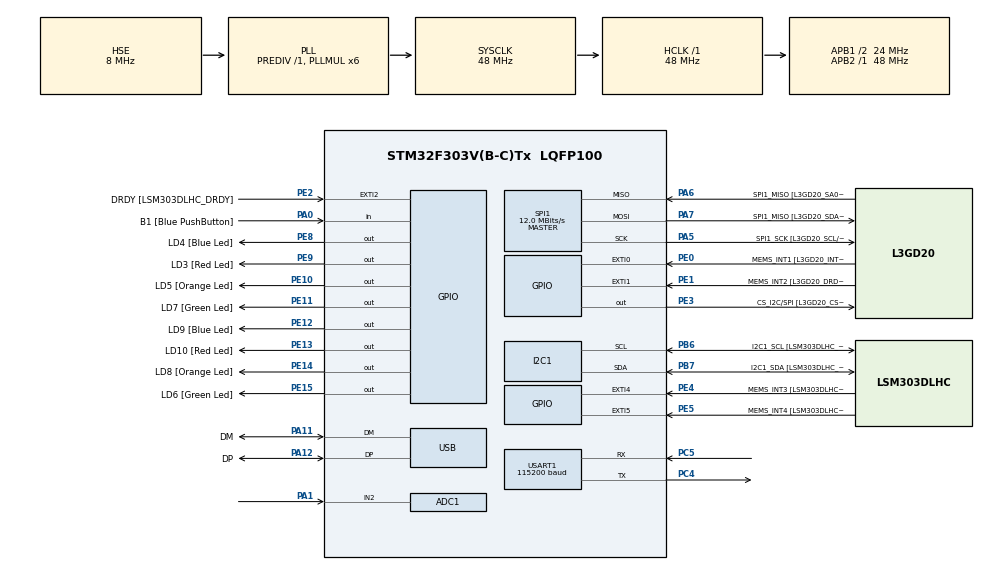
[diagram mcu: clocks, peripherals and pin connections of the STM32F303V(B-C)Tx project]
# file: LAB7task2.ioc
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ADC1.Channel-6\#ChannelRegularConversion=ADC_CHANNEL_2
ADC1.ContinuousConvMode=ENABLE
ADC1.NbrOfConversionFlag=1
ADC1.Offset-6\#ChannelRegularConversion=0
ADC1.OffsetNumber-6\#ChannelRegularConversion=ADC_OFFSET_NONE
ADC1.Rank-6\#ChannelRegularConversion=1
ADC1.SamplingTime-6\#ChannelRegularConversion=ADC_SAMPLETIME_19CYCLES_5
ADC1.SamplingTimeOPAMP-6\#ChannelRegularConversion=ADC_SAMPLETIME_19CYCLES_5
ADC1.master=1
I2C1.Timing=0x2000090E
I2C1.Timing-I2C=0x2000090E
Mcu.Family=STM32F3
Mcu.Name=STM32F303V(B-C)Tx
Mcu.Package=LQFP100
NVIC.ADC1_2_IRQn=true\:0\:0\:false\:false\:true\:true\:true\:true
NVIC.PriorityGroup=NVIC_PRIORITYGROUP_0
PA0.GPIO_Label=B1 [Blue PushButton]
PA0.Signal=GPIO_Input
PA1.Mode=IN2-Single-Ended
PA1.Signal=ADC1_IN2
PA11.GPIO_Label=DM
PA11.Mode=Device
PA11.Signal=USB_DM
PA12.GPIO_Label=DP
PA12.Mode=Device
PA12.Signal=USB_DP
PA13.GPIO_Label=SWDIO
PA13.Mode=Serial_Wire
PA13.Signal=SYS_JTMS-SWDIO
PA14.GPIO_Label=SWCLK
PA14.Mode=Serial_Wire
PA14.Signal=SYS_JTCK-SWCLK
PA5.GPIO_Label=SPI1_SCK [L3GD20_SCL/SPC]
PA5.Mode=Full_Duplex_Master
PA5.Signal=SPI1_SCK
PA6.GPIO_Label=SPI1_MISO [L3GD20_SA0/SDO]
PA6.Mode=Full_Duplex_Master
PA6.Signal=SPI1_MISO
PA7.GPIO_Label=SPI1_MISO [L3GD20_SDA/SDI/SDO]
PA7.Mode=Full_Duplex_Master
PA7.Signal=SPI1_MOSI
PB3.GPIO_Label=SWO
PB3.Signal=SYS_JTDO-TRACESWO
PB6.GPIO_Label=I2C1_SCL [LSM303DLHC_SCL]
PB6.GPIO_Pu=GPIO_PULLUP
PB6.Mode=I2C
PB6.Signal=I2C1_SCL
PB7.GPIO_Label=I2C1_SDA [LSM303DLHC_SDA]
PB7.GPIO_Pu=GPIO_PULLUP
PB7.Mode=I2C
PB7.Signal=I2C1_SDA
PC14-OSC32_IN.GPIO_Label=OSC32_IN
PC14-OSC32_IN.Signal=RCC_OSC32_IN
PC15-OSC32_OUT.GPIO_Label=OSC32_OUT
PC15-OSC32_OUT.Signal=RCC_OSC32_OUT
PC4.Mode=Asynchronous
PC4.Signal=USART1_TX
PC5.Mode=Asynchronous
PC5.Signal=USART1_RX
PE0.GPIO_Label=MEMS_INT1 [L3GD20_INT1]
PE0.GPIO_ModeDefaultEXTI=GPIO_MODE_EVT_RISING
PE0.Signal=GPXTI0
PE1.GPIO_Label=MEMS_INT2 [L3GD20_DRDY/INT2]
PE1.GPIO_ModeDefaultEXTI=GPIO_MODE_EVT_RISING
PE1.Signal=GPXTI1
PE10.GPIO_Label=LD5 [Orange Led]
PE10.Signal=GPIO_Output
PE11.GPIO_Label=LD7 [Green Led]
PE11.Signal=GPIO_Output
PE12.GPIO_Label=LD9 [Blue Led]
PE12.Signal=GPIO_Output
PE13.GPIO_Label=LD10 [Red Led]
PE13.Signal=GPIO_Output
PE14.GPIO_Label=LD8 [Orange Led]
PE14.Signal=GPIO_Output
PE15.GPIO_Label=LD6 [Green Led]
PE15.Signal=GPIO_Output
PE2.GPIO_Label=DRDY [LSM303DLHC_DRDY]
PE2.GPIO_ModeDefaultEXTI=GPIO_MODE_EVT_RISING
PE2.Signal=GPXTI2
PE3.GPIO_Label=CS_I2C/SPI [L3GD20_CS_I2C/SPI]
PE3.Signal=GPIO_Output
PE4.GPIO_Label=MEMS_INT3 [LSM303DLHC_INT1]
PE4.GPIO_ModeDefaultEXTI=GPIO_MODE_EVT_RISING
PE4.Signal=GPXTI4
PE5.GPIO_Label=MEMS_INT4 [LSM303DLHC_INT2]
PE5.GPIO_ModeDefaultEXTI=GPIO_MODE_EVT_RISING
PE5.Signal=GPXTI5
PE8.GPIO_Label=LD4 [Blue Led]
PE8.Signal=GPIO_Output
PE9.GPIO_Label=LD3 [Red Led]
PE9.Signal=GPIO_Output
PF0-OSC_IN.GPIO_Label=OSC_IN
PF0-OSC_IN.Mode=HSE-External-Clock-Source
PF0-OSC_IN.Signal=RCC_OSC_IN
PF1-OSC_OUT.GPIO_Label=OSC_OUT
PF1-OSC_OUT.Signal=RCC_OSC_OUT
ProjectManager.HeapSize=0x200
ProjectManager.StackSize=0x400
ProjectManager.TargetToolchain=CMake
RCC.AHBFreq_Value=48000000
RCC.APB1CLKDivider=RCC_HCLK_DIV2
RCC.APB1Freq_Value=24000000
RCC.APB1TimFreq_Value=48000000
RCC.APB2Freq_Value=48000000
RCC.APB2TimFreq_Value=48000000
RCC.CortexFreq_Value=48000000
RCC.HCLKFreq_Value=48000000
RCC.HSE_VALUE=8000000
RCC.HSI_VALUE=8000000
RCC.LSE_VALUE=32768
RCC.PLLMUL=RCC_PLL_MUL6
RCC.SYSCLKFreq_VALUE=48000000
RCC.SYSCLKSourceVirtual=RCC_SYSCLKSOURCE_PLLCLK
RCC.USBFreq_Value=48000000
SPI1.BaudRatePrescaler=SPI_BAUDRATEPRESCALER_4
SPI1.BaudRatePrescaler-Full_Duplex_Master=SPI_BAUDRATEPRESCALER_2
SPI1.CalculateBaudRate=12.0 MBits/s
SPI1.CalculateBaudRate-Full_Duplex_Master=24.0 MBits/s
SPI1.Direction=SPI_DIRECTION_2LINES
SPI1.Mode=SPI_MODE_MASTER
SPI1.Mode-Full_Duplex_Master=SPI_MODE_MASTER
SPI1.VirtualType=VM_MASTER
STMicroelectronics.X-CUBE-ALGOBUILD.1.4.0.LibraryCcDSPOoLibraryJjDSPOoLibrary=true
USART1.BaudRate=115200
USART1.VirtualMode-Asynchronous=VM_ASYNC
VP_STMicroelectronics.X-CUBE-ALGOBUILD_VS_DSPOoLibraryJjLibrary_1.4.0_1.4.0.Mode=DSPOoLibraryJjLibrary
board=STM32F3DISCOVERY

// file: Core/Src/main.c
/* USER CODE BEGIN Header */
/**
  ******************************************************************************
  * @file           : main.c
  * @brief          : Main program body
  ******************************************************************************
  * @attention
  *
  * Copyright (c) 2025 STMicroelectronics.
  * All rights reserved.
  *
  * This software is licensed under terms that can be found in the LICENSE file
  * in the root directory of this software component.
  * If no LICENSE file comes with this software, it is provided AS-IS.
  *
  ******************************************************************************
  */
/* USER CODE END Header */
#include "main.h"
// #include "usb_device.h"

/* USER CODE BEGIN Includes */
#include <stdio.h>
#include <string.h>
/* USER CODE END Includes */

/* USER CODE BEGIN PV */
volatile uint32_t adc_value = 0;
volatile uint32_t filtered_value = 0;

static uint32_t filter_buffer[10] = {0};  // 10-point moving avg buffer
static uint8_t  filter_index = 0;
/* USER CODE END PV */

ADC_HandleTypeDef hadc1;

I2C_HandleTypeDef hi2c1;

SPI_HandleTypeDef hspi1;

UART_HandleTypeDef huart1;

void SystemClock_Config(void);
static void MX_GPIO_Init(void);
static void MX_ADC1_Init(void);
static void MX_I2C1_Init(void);
static void MX_SPI1_Init(void);
static void MX_USART1_UART_Init(void);

int main(void)
{

  /* MCU Configuration--------------------------------------------------------*/

  /* Reset of all peripherals, Initializes the Flash interface and the Systick. */
  HAL_Init();

  /* Configure the system clock */
  SystemClock_Config();

  /* Initialize all configured peripherals */
  MX_GPIO_Init();
  MX_ADC1_Init();
  MX_I2C1_Init();
  MX_SPI1_Init();
  MX_USART1_UART_Init();
  // MX_USB_DEVICE_Init();
  /* USER CODE BEGIN 2 */
  HAL_ADC_Start_IT(&hadc1);//                       interrupt task
  /* USER CODE END 2 */

  /* Infinite loop */
  /* USER CODE BEGIN WHILE */
 while (1)                                            //polling task
{

}
  /* USER CODE END 3 */
}

void SystemClock_Config(void)
{
  RCC_OscInitTypeDef RCC_OscInitStruct = {0};
  RCC_ClkInitTypeDef RCC_ClkInitStruct = {0};
  RCC_PeriphCLKInitTypeDef PeriphClkInit = {0};

  /** Initializes the RCC Oscillators according to the specified parameters
  * in the RCC_OscInitTypeDef structure.
  */
  RCC_OscInitStruct.OscillatorType = RCC_OSCILLATORTYPE_HSI|RCC_OSCILLATORTYPE_HSE;
  RCC_OscInitStruct.HSEState = RCC_HSE_BYPASS;
  RCC_OscInitStruct.HSEPredivValue = RCC_HSE_PREDIV_DIV1;
  RCC_OscInitStruct.HSIState = RCC_HSI_ON;
  RCC_OscInitStruct.HSICalibrationValue = RCC_HSICALIBRATION_DEFAULT;
  RCC_OscInitStruct.PLL.PLLState = RCC_PLL_ON;
  RCC_OscInitStruct.PLL.PLLSource = RCC_PLLSOURCE_HSE;
  RCC_OscInitStruct.PLL.PLLMUL = RCC_PLL_MUL6;
  if (HAL_RCC_OscConfig(&RCC_OscInitStruct) != HAL_OK)
  {
    Error_Handler();
  }

  /** Initializes the CPU, AHB and APB buses clocks
  */
  RCC_ClkInitStruct.ClockType = RCC_CLOCKTYPE_HCLK|RCC_CLOCKTYPE_SYSCLK
                              |RCC_CLOCKTYPE_PCLK1|RCC_CLOCKTYPE_PCLK2;
  RCC_ClkInitStruct.SYSCLKSource = RCC_SYSCLKSOURCE_PLLCLK;
  RCC_ClkInitStruct.AHBCLKDivider = RCC_SYSCLK_DIV1;
  RCC_ClkInitStruct.APB1CLKDivider = RCC_HCLK_DIV2;
  RCC_ClkInitStruct.APB2CLKDivider = RCC_HCLK_DIV1;

  if (HAL_RCC_ClockConfig(&RCC_ClkInitStruct, FLASH_LATENCY_1) != HAL_OK)
  {
    Error_Handler();
  }
  PeriphClkInit.PeriphClockSelection = RCC_PERIPHCLK_USB|RCC_PERIPHCLK_USART1
                              |RCC_PERIPHCLK_I2C1|RCC_PERIPHCLK_ADC12;
  PeriphClkInit.Usart1ClockSelection = RCC_USART1CLKSOURCE_PCLK2;
  PeriphClkInit.Adc12ClockSelection = RCC_ADC12PLLCLK_DIV1;
  PeriphClkInit.I2c1ClockSelection = RCC_I2C1CLKSOURCE_HSI;
  PeriphClkInit.USBClockSelection = RCC_USBCLKSOURCE_PLL;
  if (HAL_RCCEx_PeriphCLKConfig(&PeriphClkInit) != HAL_OK)
  {
    Error_Handler();
  }
}

static void MX_ADC1_Init(void)
{

  ADC_MultiModeTypeDef multimode = {0};
  ADC_ChannelConfTypeDef sConfig = {0};

  /** Common config
  */
  hadc1.Instance = ADC1;
  hadc1.Init.ClockPrescaler = ADC_CLOCK_ASYNC_DIV1;
  hadc1.Init.Resolution = ADC_RESOLUTION_12B;
  hadc1.Init.ScanConvMode = ADC_SCAN_DISABLE;
  hadc1.Init.ContinuousConvMode = ENABLE;
  hadc1.Init.DiscontinuousConvMode = DISABLE;
  hadc1.Init.ExternalTrigConvEdge = ADC_EXTERNALTRIGCONVEDGE_NONE;
  hadc1.Init.ExternalTrigConv = ADC_SOFTWARE_START;
  hadc1.Init.DataAlign = ADC_DATAALIGN_RIGHT;
  hadc1.Init.NbrOfConversion = 1;
  hadc1.Init.DMAContinuousRequests = DISABLE;
  hadc1.Init.EOCSelection = ADC_EOC_SINGLE_CONV;
  hadc1.Init.LowPowerAutoWait = DISABLE;
  hadc1.Init.Overrun = ADC_OVR_DATA_OVERWRITTEN;
  if (HAL_ADC_Init(&hadc1) != HAL_OK)
  {
    Error_Handler();
  }

  /** Configure the ADC multi-mode
  */
  multimode.Mode = ADC_MODE_INDEPENDENT;
  if (HAL_ADCEx_MultiModeConfigChannel(&hadc1, &multimode) != HAL_OK)
  {
    Error_Handler();
  }

  /** Configure Regular Channel
  */
  sConfig.Channel = ADC_CHANNEL_1;
  sConfig.Rank = ADC_REGULAR_RANK_1;
  sConfig.SingleDiff = ADC_SINGLE_ENDED;
  sConfig.SamplingTime = ADC_SAMPLETIME_1CYCLE_5;
  sConfig.OffsetNumber = ADC_OFFSET_NONE;
  sConfig.Offset = 0;
  if (HAL_ADC_ConfigChannel(&hadc1, &sConfig) != HAL_OK)
  {
    Error_Handler();
  }

}

static void MX_I2C1_Init(void)
{

  hi2c1.Instance = I2C1;
  hi2c1.Init.Timing = 0x00201D2B;
  hi2c1.Init.OwnAddress1 = 0;
  hi2c1.Init.AddressingMode = I2C_ADDRESSINGMODE_7BIT;
  hi2c1.Init.DualAddressMode = I2C_DUALADDRESS_DISABLE;
  hi2c1.Init.OwnAddress2 = 0;
  hi2c1.Init.OwnAddress2Masks = I2C_OA2_NOMASK;
  hi2c1.Init.GeneralCallMode = I2C_GENERALCALL_DISABLE;
  hi2c1.Init.NoStretchMode = I2C_NOSTRETCH_DISABLE;
  if (HAL_I2C_Init(&hi2c1) != HAL_OK)
  {
    Error_Handler();
  }

  /** Configure Analogue filter
  */
  if (HAL_I2CEx_ConfigAnalogFilter(&hi2c1, I2C_ANALOGFILTER_ENABLE) != HAL_OK)
  {
    Error_Handler();
  }

  /** Configure Digital filter
  */
  if (HAL_I2CEx_ConfigDigitalFilter(&hi2c1, 0) != HAL_OK)
  {
    Error_Handler();
  }

}

static void MX_SPI1_Init(void)
{

  /* SPI1 parameter configuration*/
  hspi1.Instance = SPI1;
  hspi1.Init.Mode = SPI_MODE_MASTER;
  hspi1.Init.Direction = SPI_DIRECTION_2LINES;
  hspi1.Init.DataSize = SPI_DATASIZE_4BIT;
  hspi1.Init.CLKPolarity = SPI_POLARITY_LOW;
  hspi1.Init.CLKPhase = SPI_PHASE_1EDGE;
  hspi1.Init.NSS = SPI_NSS_SOFT;
  hspi1.Init.BaudRatePrescaler = SPI_BAUDRATEPRESCALER_4;
  hspi1.Init.FirstBit = SPI_FIRSTBIT_MSB;
  hspi1.Init.TIMode = SPI_TIMODE_DISABLE;
  hspi1.Init.CRCCalculation = SPI_CRCCALCULATION_DISABLE;
  hspi1.Init.CRCPolynomial = 7;
  hspi1.Init.CRCLength = SPI_CRC_LENGTH_DATASIZE;
  hspi1.Init.NSSPMode = SPI_NSS_PULSE_ENABLE;
  if (HAL_SPI_Init(&hspi1) != HAL_OK)
  {
    Error_Handler();
  }

}

static void MX_USART1_UART_Init(void)
{

  huart1.Instance = USART1;
  huart1.Init.BaudRate = 115200;
  huart1.Init.WordLength = UART_WORDLENGTH_8B;
  huart1.Init.StopBits = UART_STOPBITS_1;
  huart1.Init.Parity = UART_PARITY_NONE;
  huart1.Init.Mode = UART_MODE_TX_RX;
  huart1.Init.HwFlowCtl = UART_HWCONTROL_NONE;
  huart1.Init.OverSampling = UART_OVERSAMPLING_16;
  huart1.Init.OneBitSampling = UART_ONE_BIT_SAMPLE_DISABLE;
  huart1.AdvancedInit.AdvFeatureInit = UART_ADVFEATURE_NO_INIT;
  if (HAL_UART_Init(&huart1) != HAL_OK)
  {
    Error_Handler();
  }

}

static void MX_GPIO_Init(void)
{
  GPIO_InitTypeDef GPIO_InitStruct = {0};

  /* GPIO Ports Clock Enable */
  __HAL_RCC_GPIOE_CLK_ENABLE();
  __HAL_RCC_GPIOC_CLK_ENABLE();
  __HAL_RCC_GPIOF_CLK_ENABLE();
  __HAL_RCC_GPIOA_CLK_ENABLE();
  __HAL_RCC_GPIOB_CLK_ENABLE();

  /*Configure GPIO pin Output Level */
  HAL_GPIO_WritePin(GPIOE, CS_I2C_SPI_Pin|LD4_Pin|LD3_Pin|LD5_Pin
                          |LD7_Pin|LD9_Pin|LD10_Pin|LD8_Pin
                          |LD6_Pin, GPIO_PIN_RESET);

  /*Configure GPIO pins : DRDY_Pin MEMS_INT3_Pin MEMS_INT4_Pin MEMS_INT1_Pin
                           MEMS_INT2_Pin */
  GPIO_InitStruct.Pin = DRDY_Pin|MEMS_INT3_Pin|MEMS_INT4_Pin|MEMS_INT1_Pin
                          |MEMS_INT2_Pin;
  GPIO_InitStruct.Mode = GPIO_MODE_EVT_RISING;
  GPIO_InitStruct.Pull = GPIO_NOPULL;
  HAL_GPIO_Init(GPIOE, &GPIO_InitStruct);

  /*Configure GPIO pins : CS_I2C_SPI_Pin LD4_Pin LD3_Pin LD5_Pin
                           LD7_Pin LD9_Pin LD10_Pin LD8_Pin
                           LD6_Pin */
  GPIO_InitStruct.Pin = CS_I2C_SPI_Pin|LD4_Pin|LD3_Pin|LD5_Pin
                          |LD7_Pin|LD9_Pin|LD10_Pin|LD8_Pin
                          |LD6_Pin;
  GPIO_InitStruct.Mode = GPIO_MODE_OUTPUT_PP;
  GPIO_InitStruct.Pull = GPIO_NOPULL;
  GPIO_InitStruct.Speed = GPIO_SPEED_FREQ_LOW;
  HAL_GPIO_Init(GPIOE, &GPIO_InitStruct);

}

/* USER CODE BEGIN 4 */
void HAL_ADC_ConvCpltCallback(ADC_HandleTypeDef* hadc)
{
    if (hadc->Instance == ADC1)
    {
        // Read ADC value (12-bit)
        adc_value = HAL_ADC_GetValue(hadc);

        // Update circular buffer
        filter_buffer[filter_index] = adc_value;
        filter_index = (filter_index + 1) % 10;

        // Compute 10-point moving average
        uint32_t sum = 0;
        for (int i = 0; i < 10; i++)
            sum += filter_buffer[i];
        filtered_value = sum / 10;

        // Transmit both values via UART as: "raw,filtered\r\n"
        char msg[30];
        sprintf(msg, "%lu,%lu\r\n", adc_value, filtered_value);
        HAL_UART_Transmit(&huart1, (uint8_t*)msg, strlen(msg), HAL_MAX_DELAY);
    }
}
/* USER CODE END 4 */

void Error_Handler(void)
{
  __disable_irq();
  while (1)
  {
  }
}

//POLLIING METHOD

// /* USER CODE BEGIN Header */
// /**
//   ******************************************************************************
//   * @file           : main.c
//   * @brief          : Main program body
//   ******************************************************************************
//   * @attention
//   *
//   * Copyright (c) 2025 STMicroelectronics.
//   * All rights reserved.
//   *
//   * This software is licensed under terms that can be found in the LICENSE file
//   * in the root directory of this software component.
//   * If no LICENSE file comes with this software, it is provided AS-IS.
//   *
//   ******************************************************************************
//   */
// /* USER CODE END Header */
// /* Includes ------------------------------------------------------------------*/
// #include "main.h"
// // #include "usb_device.h"

// /* Private includes ----------------------------------------------------------*/
// /* USER CODE BEGIN Includes */
// #include <stdio.h>
// #include <string.h>

// uint32_t adc_value = 0;
// float adc_voltage = 0.0f;

// #define FILTER_SIZE 10
// static float filt_buf[FILTER_SIZE] = {0.0f};
// static uint8_t filt_idx = 0;
// static float filt_sum = 0.0f;
// static float filt_out = 0.0f;
// /* USER CODE END Includes */

// /* Private typedef -----------------------------------------------------------*/
// /* USER CODE BEGIN PTD */

// /* USER CODE END PTD */

// /* Private define ------------------------------------------------------------*/
// /* USER CODE BEGIN PD */

// /* USER CODE END PD */

// /* Private macro -------------------------------------------------------------*/
// /* USER CODE BEGIN PM */

// /* USER CODE END PM */

// /* Private variables ---------------------------------------------------------*/
// ADC_HandleTypeDef hadc1;

// I2C_HandleTypeDef hi2c1;

// SPI_HandleTypeDef hspi1;

// UART_HandleTypeDef huart1;

// /* USER CODE BEGIN PV */

// /* USER CODE END PV */

// /* Private function prototypes -----------------------------------------------*/
// void SystemClock_Config(void);
// static void MX_GPIO_Init(void);
// static void MX_ADC1_Init(void);
// static void MX_I2C1_Init(void);
// static void MX_SPI1_Init(void);
// static void MX_USART1_UART_Init(void);
// /* USER CODE BEGIN PFP */

// /* USER CODE END PFP */

// /* Private user code ---------------------------------------------------------*/
// /* USER CODE BEGIN 0 */

// /* USER CODE END 0 */

// /**
//   * @brief  The application entry point.
//   * @retval int
//   */
// int main(void)
// {

//   /* USER CODE BEGIN 1 */

//   /* USER CODE END 1 */

//   /* MCU Configuration--------------------------------------------------------*/

//   /* Reset of all peripherals, Initializes the Flash interface and the Systick. */
//   HAL_Init();

//   /* USER CODE BEGIN Init */

//   /* USER CODE END Init */

//   /* Configure the system clock */
//   SystemClock_Config();

//   /* USER CODE BEGIN SysInit */

//   /* USER CODE END SysInit */

//   /* Initialize all configured peripherals */
//   MX_GPIO_Init();
//   MX_ADC1_Init();
//   MX_I2C1_Init();
//   MX_SPI1_Init();
//   MX_USART1_UART_Init();
//   // MX_USB_DEVICE_Init();
//   /* USER CODE BEGIN 2 */
//   HAL_ADC_Start(&hadc1);
//   /* USER CODE END 2 */

//   /* Infinite loop */
//   /* USER CODE BEGIN WHILE */
//   while (1)
//   {
//     // Wait for ADC conversion to complete
//     if (HAL_ADC_PollForConversion(&hadc1, HAL_MAX_DELAY) == HAL_OK)
//     {
//       // 1Read raw ADC value (0–4095)
//       adc_value = HAL_ADC_GetValue(&hadc1);

//       //  Convert to voltage (3.3 V reference)
//       adc_voltage = (float)adc_value * 3.3f / 4095.0f;

//       //  10-point moving average
//       filt_sum -= filt_buf[filt_idx];        // remove oldest sample
//       filt_buf[filt_idx] = adc_voltage;      // add new sample
//       filt_sum += adc_voltage;               // update sum
//       filt_idx = (filt_idx + 1) % FILTER_SIZE;
//       filt_out = filt_sum / FILTER_SIZE;

//       // 4) Convert to millivolts (integers)
//       uint32_t raw_mv  = (uint32_t)(adc_voltage * 1000.0f + 0.5f);
//       uint32_t filt_mv = (uint32_t)(filt_out    * 1000.0f + 0.5f);

//       // 5) Transmit as "raw,filt\r\n" (no text, no %f needed)
//       char msg[32];
//       int n = snprintf(msg, sizeof(msg), "%lu,%lu\r\n", raw_mv, filt_mv);
//       HAL_UART_Transmit(&huart1, (uint8_t*)msg, (uint16_t)n, HAL_MAX_DELAY);
//     }
//   }
//   /* USER CODE END 3 */
// }

// /**
//   * @brief System Clock Configuration
//   * @retval None
//   */
// void SystemClock_Config(void)
// {
//   RCC_OscInitTypeDef RCC_OscInitStruct = {0};
//   RCC_ClkInitTypeDef RCC_ClkInitStruct = {0};
//   RCC_PeriphCLKInitTypeDef PeriphClkInit = {0};

//   /** Initializes the RCC Oscillators according to the specified parameters
//   * in the RCC_OscInitTypeDef structure.
//   */
//   RCC_OscInitStruct.OscillatorType = RCC_OSCILLATORTYPE_HSI|RCC_OSCILLATORTYPE_HSE;
//   RCC_OscInitStruct.HSEState = RCC_HSE_BYPASS;
//   RCC_OscInitStruct.HSEPredivValue = RCC_HSE_PREDIV_DIV1;
//   RCC_OscInitStruct.HSIState = RCC_HSI_ON;
//   RCC_OscInitStruct.HSICalibrationValue = RCC_HSICALIBRATION_DEFAULT;
//   RCC_OscInitStruct.PLL.PLLState = RCC_PLL_ON;
//   RCC_OscInitStruct.PLL.PLLSource = RCC_PLLSOURCE_HSE;
//   RCC_OscInitStruct.PLL.PLLMUL = RCC_PLL_MUL6;
//   if (HAL_RCC_OscConfig(&RCC_OscInitStruct) != HAL_OK)
//   {
//     Error_Handler();
//   }

//   /** Initializes the CPU, AHB and APB buses clocks
//   */
//   RCC_ClkInitStruct.ClockType = RCC_CLOCKTYPE_HCLK|RCC_CLOCKTYPE_SYSCLK
//                               |RCC_CLOCKTYPE_PCLK1|RCC_CLOCKTYPE_PCLK2;
//   RCC_ClkInitStruct.SYSCLKSource = RCC_SYSCLKSOURCE_PLLCLK;
//   RCC_ClkInitStruct.AHBCLKDivider = RCC_SYSCLK_DIV1;
//   RCC_ClkInitStruct.APB1CLKDivider = RCC_HCLK_DIV2;
//   RCC_ClkInitStruct.APB2CLKDivider = RCC_HCLK_DIV1;

//   if (HAL_RCC_ClockConfig(&RCC_ClkInitStruct, FLASH_LATENCY_1) != HAL_OK)
//   {
//     Error_Handler();
//   }
//   PeriphClkInit.PeriphClockSelection = RCC_PERIPHCLK_USB|RCC_PERIPHCLK_USART1
//                               |RCC_PERIPHCLK_I2C1|RCC_PERIPHCLK_ADC12;
//   PeriphClkInit.Usart1ClockSelection = RCC_USART1CLKSOURCE_PCLK2;
//   PeriphClkInit.Adc12ClockSelection = RCC_ADC12PLLCLK_DIV1;
//   PeriphClkInit.I2c1ClockSelection = RCC_I2C1CLKSOURCE_HSI;
//   PeriphClkInit.USBClockSelection = RCC_USBCLKSOURCE_PLL;
//   if (HAL_RCCEx_PeriphCLKConfig(&PeriphClkInit) != HAL_OK)
//   {
//     Error_Handler();
//   }
// }

// /**
//   * @brief ADC1 Initialization Function
//   * @param None
//   * @retval None
//   */
// static void MX_ADC1_Init(void)
// {

//   /* USER CODE BEGIN ADC1_Init 0 */

//   /* USER CODE END ADC1_Init 0 */

//   ADC_MultiModeTypeDef multimode = {0};
//   ADC_ChannelConfTypeDef sConfig = {0};

//   /* USER CODE BEGIN ADC1_Init 1 */

//   /* USER CODE END ADC1_Init 1 */

//   /** Common config
//   */
//   hadc1.Instance = ADC1;
//   hadc1.Init.ClockPrescaler = ADC_CLOCK_ASYNC_DIV1;
//   hadc1.Init.Resolution = ADC_RESOLUTION_12B;
//   hadc1.Init.ScanConvMode = ADC_SCAN_DISABLE;
//   hadc1.Init.ContinuousConvMode = ENABLE;
//   hadc1.Init.DiscontinuousConvMode = DISABLE;
//   hadc1.Init.ExternalTrigConvEdge = ADC_EXTERNALTRIGCONVEDGE_NONE;
//   hadc1.Init.ExternalTrigConv = ADC_SOFTWARE_START;
//   hadc1.Init.DataAlign = ADC_DATAALIGN_RIGHT;
//   hadc1.Init.NbrOfConversion = 1;
//   hadc1.Init.DMAContinuousRequests = DISABLE;
//   hadc1.Init.EOCSelection = ADC_EOC_SINGLE_CONV;
//   hadc1.Init.LowPowerAutoWait = DISABLE;
//   hadc1.Init.Overrun = ADC_OVR_DATA_OVERWRITTEN;
//   if (HAL_ADC_Init(&hadc1) != HAL_OK)
//   {
//     Error_Handler();
//   }

//   /** Configure the ADC multi-mode
//   */
//   multimode.Mode = ADC_MODE_INDEPENDENT;
//   if (HAL_ADCEx_MultiModeConfigChannel(&hadc1, &multimode) != HAL_OK)
//   {
//     Error_Handler();
//   }

//   /** Configure Regular Channel
//   */
//   sConfig.Channel = ADC_CHANNEL_1;
//   sConfig.Rank = ADC_REGULAR_RANK_1;
//   sConfig.SingleDiff = ADC_SINGLE_ENDED;
//   sConfig.SamplingTime = ADC_SAMPLETIME_1CYCLE_5;
//   sConfig.OffsetNumber = ADC_OFFSET_NONE;
//   sConfig.Offset = 0;
//   if (HAL_ADC_ConfigChannel(&hadc1, &sConfig) != HAL_OK)
//   {
//     Error_Handler();
//   }
//   /* USER CODE BEGIN ADC1_Init 2 */

//   /* USER CODE END ADC1_Init 2 */

// }

// /**
//   * @brief I2C1 Initialization Function
//   * @param None
//   * @retval None
//   */
// static void MX_I2C1_Init(void)
// {

//   /* USER CODE BEGIN I2C1_Init 0 */

//   /* USER CODE END I2C1_Init 0 */

//   /* USER CODE BEGIN I2C1_Init 1 */

//   /* USER CODE END I2C1_Init 1 */
//   hi2c1.Instance = I2C1;
//   hi2c1.Init.Timing = 0x00201D2B;
//   hi2c1.Init.OwnAddress1 = 0;
//   hi2c1.Init.AddressingMode = I2C_ADDRESSINGMODE_7BIT;
//   hi2c1.Init.DualAddressMode = I2C_DUALADDRESS_DISABLE;
//   hi2c1.Init.OwnAddress2 = 0;
//   hi2c1.Init.OwnAddress2Masks = I2C_OA2_NOMASK;
//   hi2c1.Init.GeneralCallMode = I2C_GENERALCALL_DISABLE;
//   hi2c1.Init.NoStretchMode = I2C_NOSTRETCH_DISABLE;
//   if (HAL_I2C_Init(&hi2c1) != HAL_OK)
//   {
//     Error_Handler();
//   }

//   /** Configure Analogue filter
//   */
//   if (HAL_I2CEx_ConfigAnalogFilter(&hi2c1, I2C_ANALOGFILTER_ENABLE) != HAL_OK)
//   {
//     Error_Handler();
//   }

//   /** Configure Digital filter
//   */
//   if (HAL_I2CEx_ConfigDigitalFilter(&hi2c1, 0) != HAL_OK)
//   {
//     Error_Handler();
//   }
//   /* USER CODE BEGIN I2C1_Init 2 */

//   /* USER CODE END I2C1_Init 2 */

// }

// /**
//   * @brief SPI1 Initialization Function
//   * @param None
//   * @retval None
//   */
// static void MX_SPI1_Init(void)
// {

//   /* USER CODE BEGIN SPI1_Init 0 */

//   /* USER CODE END SPI1_Init 0 */

//   /* USER CODE BEGIN SPI1_Init 1 */

//   /* USER CODE END SPI1_Init 1 */
//   /* SPI1 parameter configuration*/
//   hspi1.Instance = SPI1;
//   hspi1.Init.Mode = SPI_MODE_MASTER;
//   hspi1.Init.Direction = SPI_DIRECTION_2LINES;
//   hspi1.Init.DataSize = SPI_DATASIZE_4BIT;
//   hspi1.Init.CLKPolarity = SPI_POLARITY_LOW;
//   hspi1.Init.CLKPhase = SPI_PHASE_1EDGE;
//   hspi1.Init.NSS = SPI_NSS_SOFT;
//   hspi1.Init.BaudRatePrescaler = SPI_BAUDRATEPRESCALER_4;
//   hspi1.Init.FirstBit = SPI_FIRSTBIT_MSB;
//   hspi1.Init.TIMode = SPI_TIMODE_DISABLE;
//   hspi1.Init.CRCCalculation = SPI_CRCCALCULATION_DISABLE;
//   hspi1.Init.CRCPolynomial = 7;
//   hspi1.Init.CRCLength = SPI_CRC_LENGTH_DATASIZE;
//   hspi1.Init.NSSPMode = SPI_NSS_PULSE_ENABLE;
//   if (HAL_SPI_Init(&hspi1) != HAL_OK)
//   {
//     Error_Handler();
//   }
//   /* USER CODE BEGIN SPI1_Init 2 */

//   /* USER CODE END SPI1_Init 2 */

// }

// /**
//   * @brief USART1 Initialization Function
//   * @param None
//   * @retval None
//   */
// static void MX_USART1_UART_Init(void)
// {

//   /* USER CODE BEGIN USART1_Init 0 */

//   /* USER CODE END USART1_Init 0 */

//   /* USER CODE BEGIN USART1_Init 1 */

//   /* USER CODE END USART1_Init 1 */
//   huart1.Instance = USART1;
//   huart1.Init.BaudRate = 115200;
//   huart1.Init.WordLength = UART_WORDLENGTH_8B;
//   huart1.Init.StopBits = UART_STOPBITS_1;
//   huart1.Init.Parity = UART_PARITY_NONE;
//   huart1.Init.Mode = UART_MODE_TX_RX;
//   huart1.Init.HwFlowCtl = UART_HWCONTROL_NONE;
//   huart1.Init.OverSampling = UART_OVERSAMPLING_16;
//   huart1.Init.OneBitSampling = UART_ONE_BIT_SAMPLE_DISABLE;
//   huart1.AdvancedInit.AdvFeatureInit = UART_ADVFEATURE_NO_INIT;
//   if (HAL_UART_Init(&huart1) != HAL_OK)
//   {
//     Error_Handler();
//   }
//   /* USER CODE BEGIN USART1_Init 2 */

//   /* USER CODE END USART1_Init 2 */

// }

// /**
//   * @brief GPIO Initialization Function
//   * @param None
//   * @retval None
//   */
// static void MX_GPIO_Init(void)
// {
//   GPIO_InitTypeDef GPIO_InitStruct = {0};
//   /* USER CODE BEGIN MX_GPIO_Init_1 */

//   /* USER CODE END MX_GPIO_Init_1 */

//   /* GPIO Ports Clock Enable */
//   __HAL_RCC_GPIOE_CLK_ENABLE();
//   __HAL_RCC_GPIOC_CLK_ENABLE();
//   __HAL_RCC_GPIOF_CLK_ENABLE();
//   __HAL_RCC_GPIOA_CLK_ENABLE();
//   __HAL_RCC_GPIOB_CLK_ENABLE();

//   /*Configure GPIO pin Output Level */
//   HAL_GPIO_WritePin(GPIOE, CS_I2C_SPI_Pin|LD4_Pin|LD3_Pin|LD5_Pin
//                           |LD7_Pin|LD9_Pin|LD10_Pin|LD8_Pin
//                           |LD6_Pin, GPIO_PIN_RESET);

//   /*Configure GPIO pins : DRDY_Pin MEMS_INT3_Pin MEMS_INT4_Pin MEMS_INT1_Pin
//                            MEMS_INT2_Pin */
//   GPIO_InitStruct.Pin = DRDY_Pin|MEMS_INT3_Pin|MEMS_INT4_Pin|MEMS_INT1_Pin
//                           |MEMS_INT2_Pin;
//   GPIO_InitStruct.Mode = GPIO_MODE_EVT_RISING;
//   GPIO_InitStruct.Pull = GPIO_NOPULL;
//   HAL_GPIO_Init(GPIOE, &GPIO_InitStruct);

//   /*Configure GPIO pins : CS_I2C_SPI_Pin LD4_Pin LD3_Pin LD5_Pin
//                            LD7_Pin LD9_Pin LD10_Pin LD8_Pin
//                            LD6_Pin */
//   GPIO_InitStruct.Pin = CS_I2C_SPI_Pin|LD4_Pin|LD3_Pin|LD5_Pin
//                           |LD7_Pin|LD9_Pin|LD10_Pin|LD8_Pin
//                           |LD6_Pin;
//   GPIO_InitStruct.Mode = GPIO_MODE_OUTPUT_PP;
//   GPIO_InitStruct.Pull = GPIO_NOPULL;
//   GPIO_InitStruct.Speed = GPIO_SPEED_FREQ_LOW;
//   HAL_GPIO_Init(GPIOE, &GPIO_InitStruct);

//   /* USER CODE BEGIN MX_GPIO_Init_2 */

//   /* USER CODE END MX_GPIO_Init_2 */
// }

// /* USER CODE BEGIN 4 */

// /* USER CODE END 4 */

// /**
//   * @brief  This function is executed in case of error occurrence.
//   * @retval None
//   */
// void Error_Handler(void)
// {
//   /* USER CODE BEGIN Error_Handler_Debug */
//   /* User can add his own implementation to report the HAL error return state */
//   __disable_irq();
//   while (1)
//   {
//   }
//   /* USER CODE END Error_Handler_Debug */
// }

// #ifdef  USE_FULL_ASSERT
// /**
//   * @brief  Reports the name of the source file and the source line number
//   *         where the assert_param error has occurred.
//   * @param  file: pointer to the source file name
//   * @param  line: assert_param error line source number
//   * @retval None
//   */
// void assert_failed(uint8_t *file, uint32_t line)
// {
//   /* USER CODE BEGIN 6 */
//   /* User can add his own implementation to report the file name and line number,
//      ex: printf("Wrong parameters value: file %s on line %d\r\n", file, line) */
//   /* USER CODE END 6 */
// }
// #endif /* USE_FULL_ASSERT */
